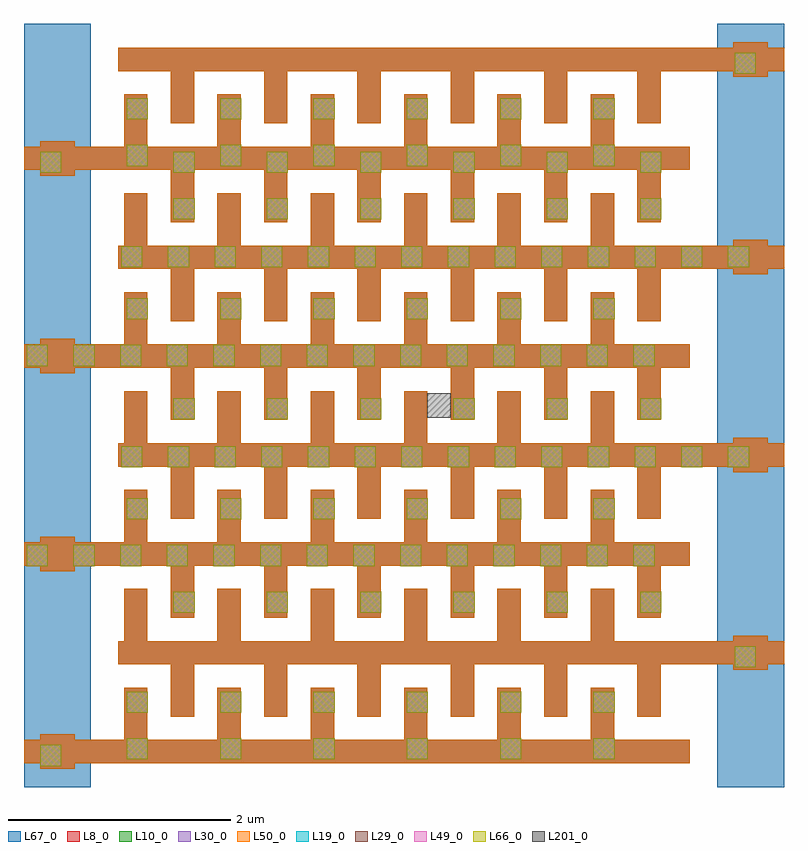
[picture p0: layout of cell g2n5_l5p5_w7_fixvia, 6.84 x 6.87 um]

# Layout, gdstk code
import gdstk
lib = gdstk.Library(unit=1e-6, precision=1e-09)
def R(c, l, rs):  # rectangles x0, y0, x1, y1
    for r in rs: c.add(gdstk.rectangle(r[:2], r[2:], *l))
def A(c, l, x, y, w, h, nx, ny, dx, dy):  # array of equal rectangles
    R(c, l, [(x+i*dx, y+j*dy, x+i*dx+w, y+j*dy+h) for i in range(nx) for j in range(ny)])
def P(c, l, *ps):  # polygons
    for p in ps: c.add(gdstk.Polygon(p, *l))
L8_0 = (8, 0)
L10_0 = (10, 0)
L19_0 = (19, 0)
L29_0 = (29, 0)
L30_0 = (30, 0)
L49_0 = (49, 0)
L50_0 = (50, 0)
L66_0 = (66, 0)
L67_0 = (67, 0)
L201_0 = (201, 0)

g2n5_l5p5_w7_fixvia = lib.new_cell('g2n5_l5p5_w7_fixvia')
P(g2n5_l5p5_w7_fixvia, L8_0, [(-0.755,-0.155),(-0.755,-0.105),(-0.9,-0.105),(-0.9,0.105),(-0.755,0.105),(-0.755,0.155),(-0.445,0.155),(-0.445,0.105),(0,0.105),(0,0.575),(0.21,0.575),(0.21,0.105),(0.84,0.105),(0.84,0.575),(1.05,0.575),(1.05,0.105),(1.68,0.105),(1.68,0.575),(1.89,0.575),(1.89,0.105),(2.52,0.105),(2.52,0.575),(2.73,0.575),(2.73,0.105),(3.36,0.105),(3.36,0.575),(3.57,0.575),(3.57,0.105),(4.2,0.105),(4.2,0.575),(4.41,0.575),(4.41,0.105),(5.09,0.105),(5.09,-0.105),(-0.445,-0.105),(-0.445,-0.155)],
  [(0.42,1.205),(0.42,1.675),(-0.445,1.675),(-0.445,1.625),(-0.755,1.625),(-0.755,1.675),(-0.9,1.675),(-0.9,1.885),(-0.755,1.885),(-0.755,1.935),(-0.445,1.935),(-0.445,1.885),(0,1.885),(0,2.355),(0.21,2.355),(0.21,1.885),(0.84,1.885),(0.84,2.355),(1.05,2.355),(1.05,1.885),(1.68,1.885),(1.68,2.355),(1.89,2.355),(1.89,1.885),(2.52,1.885),(2.52,2.355),(2.73,2.355),(2.73,1.885),(3.36,1.885),(3.36,2.355),(3.57,2.355),(3.57,1.885),(4.2,1.885),(4.2,2.355),(4.41,2.355),(4.41,1.885),(5.09,1.885),(5.09,1.675),(4.83,1.675),(4.83,1.205),(4.62,1.205),(4.62,1.675),(3.99,1.675),(3.99,1.205),(3.78,1.205),(3.78,1.675),(3.15,1.675),(3.15,1.205),(2.94,1.205),(2.94,1.675),(2.31,1.675),(2.31,1.205),(2.1,1.205),(2.1,1.675),(1.47,1.675),(1.47,1.205),(1.26,1.205),(1.26,1.675),(0.63,1.675),(0.63,1.205)],
  [(0.42,2.985),(0.42,3.455),(-0.445,3.455),(-0.445,3.405),(-0.755,3.405),(-0.755,3.455),(-0.9,3.455),(-0.9,3.665),(-0.755,3.665),(-0.755,3.715),(-0.445,3.715),(-0.445,3.665),(0,3.665),(0,4.135),(0.21,4.135),(0.21,3.665),(0.84,3.665),(0.84,4.135),(1.05,4.135),(1.05,3.665),(1.68,3.665),(1.68,4.135),(1.89,4.135),(1.89,3.665),(2.52,3.665),(2.52,4.135),(2.73,4.135),(2.73,3.665),(3.36,3.665),(3.36,4.135),(3.57,4.135),(3.57,3.665),(4.2,3.665),(4.2,4.135),(4.41,4.135),(4.41,3.665),(5.09,3.665),(5.09,3.455),(4.83,3.455),(4.83,2.985),(4.62,2.985),(4.62,3.455),(3.99,3.455),(3.99,2.985),(3.78,2.985),(3.78,3.455),(3.15,3.455),(3.15,2.985),(2.94,2.985),(2.94,3.455),(2.31,3.455),(2.31,2.985),(2.1,2.985),(2.1,3.455),(1.47,3.455),(1.47,2.985),(1.26,2.985),(1.26,3.455),(0.63,3.455),(0.63,2.985)],
  [(0.42,4.765),(0.42,5.235),(-0.445,5.235),(-0.445,5.185),(-0.755,5.185),(-0.755,5.235),(-0.9,5.235),(-0.9,5.445),(-0.755,5.445),(-0.755,5.495),(-0.445,5.495),(-0.445,5.445),(0,5.445),(0,5.915),(0.21,5.915),(0.21,5.445),(0.84,5.445),(0.84,5.915),(1.05,5.915),(1.05,5.445),(1.68,5.445),(1.68,5.915),(1.89,5.915),(1.89,5.445),(2.52,5.445),(2.52,5.915),(2.73,5.915),(2.73,5.445),(3.36,5.445),(3.36,5.915),(3.57,5.915),(3.57,5.445),(4.2,5.445),(4.2,5.915),(4.41,5.915),(4.41,5.445),(5.09,5.445),(5.09,5.235),(4.83,5.235),(4.83,4.765),(4.62,4.765),(4.62,5.235),(3.99,5.235),(3.99,4.765),(3.78,4.765),(3.78,5.235),(3.15,5.235),(3.15,4.765),(2.94,4.765),(2.94,5.235),(2.31,5.235),(2.31,4.765),(2.1,4.765),(2.1,5.235),(1.47,5.235),(1.47,4.765),(1.26,4.765),(1.26,5.235),(0.63,5.235),(0.63,4.765)],
  [(0.42,0.315),(0.42,0.785),(-0.05,0.785),(-0.05,0.995),(0,0.995),(0,1.465),(0.21,1.465),(0.21,0.995),(0.84,0.995),(0.84,1.465),(1.05,1.465),(1.05,0.995),(1.68,0.995),(1.68,1.465),(1.89,1.465),(1.89,0.995),(2.52,0.995),(2.52,1.465),(2.73,1.465),(2.73,0.995),(3.36,0.995),(3.36,1.465),(3.57,1.465),(3.57,0.995),(4.2,0.995),(4.2,1.465),(4.41,1.465),(4.41,0.995),(5.485,0.995),(5.485,1.045),(5.795,1.045),(5.795,0.995),(5.94,0.995),(5.94,0.785),(5.795,0.785),(5.795,0.735),(5.485,0.735),(5.485,0.785),(4.83,0.785),(4.83,0.315),(4.62,0.315),(4.62,0.785),(3.99,0.785),(3.99,0.315),(3.78,0.315),(3.78,0.785),(3.15,0.785),(3.15,0.315),(2.94,0.315),(2.94,0.785),(2.31,0.785),(2.31,0.315),(2.1,0.315),(2.1,0.785),(1.47,0.785),(1.47,0.315),(1.26,0.315),(1.26,0.785),(0.63,0.785),(0.63,0.315)],
  [(0.42,2.095),(0.42,2.565),(-0.05,2.565),(-0.05,2.775),(0,2.775),(0,3.245),(0.21,3.245),(0.21,2.775),(0.84,2.775),(0.84,3.245),(1.05,3.245),(1.05,2.775),(1.68,2.775),(1.68,3.245),(1.89,3.245),(1.89,2.775),(2.52,2.775),(2.52,3.245),(2.73,3.245),(2.73,2.775),(3.36,2.775),(3.36,3.245),(3.57,3.245),(3.57,2.775),(4.2,2.775),(4.2,3.245),(4.41,3.245),(4.41,2.775),(5.485,2.775),(5.485,2.825),(5.795,2.825),(5.795,2.775),(5.94,2.775),(5.94,2.565),(5.795,2.565),(5.795,2.515),(5.485,2.515),(5.485,2.565),(4.83,2.565),(4.83,2.095),(4.62,2.095),(4.62,2.565),(3.99,2.565),(3.99,2.095),(3.78,2.095),(3.78,2.565),(3.15,2.565),(3.15,2.095),(2.94,2.095),(2.94,2.565),(2.31,2.565),(2.31,2.095),(2.1,2.095),(2.1,2.565),(1.47,2.565),(1.47,2.095),(1.26,2.095),(1.26,2.565),(0.63,2.565),(0.63,2.095)],
  [(0.42,3.875),(0.42,4.345),(-0.05,4.345),(-0.05,4.555),(0,4.555),(0,5.025),(0.21,5.025),(0.21,4.555),(0.84,4.555),(0.84,5.025),(1.05,5.025),(1.05,4.555),(1.68,4.555),(1.68,5.025),(1.89,5.025),(1.89,4.555),(2.52,4.555),(2.52,5.025),(2.73,5.025),(2.73,4.555),(3.36,4.555),(3.36,5.025),(3.57,5.025),(3.57,4.555),(4.2,4.555),(4.2,5.025),(4.41,5.025),(4.41,4.555),(5.485,4.555),(5.485,4.605),(5.795,4.605),(5.795,4.555),(5.94,4.555),(5.94,4.345),(5.795,4.345),(5.795,4.295),(5.485,4.295),(5.485,4.345),(4.83,4.345),(4.83,3.875),(4.62,3.875),(4.62,4.345),(3.99,4.345),(3.99,3.875),(3.78,3.875),(3.78,4.345),(3.15,4.345),(3.15,3.875),(2.94,3.875),(2.94,4.345),(2.31,4.345),(2.31,3.875),(2.1,3.875),(2.1,4.345),(1.47,4.345),(1.47,3.875),(1.26,3.875),(1.26,4.345),(0.63,4.345),(0.63,3.875)],
  [(0.42,5.655),(0.42,6.125),(-0.05,6.125),(-0.05,6.335),(5.485,6.335),(5.485,6.385),(5.795,6.385),(5.795,6.335),(5.94,6.335),(5.94,6.125),(5.795,6.125),(5.795,6.075),(5.485,6.075),(5.485,6.125),(4.83,6.125),(4.83,5.655),(4.62,5.655),(4.62,6.125),(3.99,6.125),(3.99,5.655),(3.78,5.655),(3.78,6.125),(3.15,6.125),(3.15,5.655),(2.94,5.655),(2.94,6.125),(2.31,6.125),(2.31,5.655),(2.1,5.655),(2.1,6.125),(1.47,6.125),(1.47,5.655),(1.26,5.655),(1.26,6.125),(0.63,6.125),(0.63,5.655)])
P(g2n5_l5p5_w7_fixvia, L10_0, [(-0.755,-0.155),(-0.755,-0.105),(-0.9,-0.105),(-0.9,0.105),(-0.755,0.105),(-0.755,0.155),(-0.445,0.155),(-0.445,0.105),(0,0.105),(0,0.575),(0.21,0.575),(0.21,0.105),(0.84,0.105),(0.84,0.575),(1.05,0.575),(1.05,0.105),(1.68,0.105),(1.68,0.575),(1.89,0.575),(1.89,0.105),(2.52,0.105),(2.52,0.575),(2.73,0.575),(2.73,0.105),(3.36,0.105),(3.36,0.575),(3.57,0.575),(3.57,0.105),(4.2,0.105),(4.2,0.575),(4.41,0.575),(4.41,0.105),(5.09,0.105),(5.09,-0.105),(-0.445,-0.105),(-0.445,-0.155)],
  [(0.42,1.205),(0.42,1.675),(-0.445,1.675),(-0.445,1.625),(-0.755,1.625),(-0.755,1.675),(-0.9,1.675),(-0.9,1.885),(-0.755,1.885),(-0.755,1.935),(-0.445,1.935),(-0.445,1.885),(0,1.885),(0,2.355),(0.21,2.355),(0.21,1.885),(0.84,1.885),(0.84,2.355),(1.05,2.355),(1.05,1.885),(1.68,1.885),(1.68,2.355),(1.89,2.355),(1.89,1.885),(2.52,1.885),(2.52,2.355),(2.73,2.355),(2.73,1.885),(3.36,1.885),(3.36,2.355),(3.57,2.355),(3.57,1.885),(4.2,1.885),(4.2,2.355),(4.41,2.355),(4.41,1.885),(5.09,1.885),(5.09,1.675),(4.83,1.675),(4.83,1.205),(4.62,1.205),(4.62,1.675),(3.99,1.675),(3.99,1.205),(3.78,1.205),(3.78,1.675),(3.15,1.675),(3.15,1.205),(2.94,1.205),(2.94,1.675),(2.31,1.675),(2.31,1.205),(2.1,1.205),(2.1,1.675),(1.47,1.675),(1.47,1.205),(1.26,1.205),(1.26,1.675),(0.63,1.675),(0.63,1.205)],
  [(0.42,2.985),(0.42,3.455),(-0.445,3.455),(-0.445,3.405),(-0.755,3.405),(-0.755,3.455),(-0.9,3.455),(-0.9,3.665),(-0.755,3.665),(-0.755,3.715),(-0.445,3.715),(-0.445,3.665),(0,3.665),(0,4.135),(0.21,4.135),(0.21,3.665),(0.84,3.665),(0.84,4.135),(1.05,4.135),(1.05,3.665),(1.68,3.665),(1.68,4.135),(1.89,4.135),(1.89,3.665),(2.52,3.665),(2.52,4.135),(2.73,4.135),(2.73,3.665),(3.36,3.665),(3.36,4.135),(3.57,4.135),(3.57,3.665),(4.2,3.665),(4.2,4.135),(4.41,4.135),(4.41,3.665),(5.09,3.665),(5.09,3.455),(4.83,3.455),(4.83,2.985),(4.62,2.985),(4.62,3.455),(3.99,3.455),(3.99,2.985),(3.78,2.985),(3.78,3.455),(3.15,3.455),(3.15,2.985),(2.94,2.985),(2.94,3.455),(2.31,3.455),(2.31,2.985),(2.1,2.985),(2.1,3.455),(1.47,3.455),(1.47,2.985),(1.26,2.985),(1.26,3.455),(0.63,3.455),(0.63,2.985)],
  [(0.42,4.765),(0.42,5.235),(-0.445,5.235),(-0.445,5.185),(-0.755,5.185),(-0.755,5.235),(-0.9,5.235),(-0.9,5.445),(-0.755,5.445),(-0.755,5.495),(-0.445,5.495),(-0.445,5.445),(0,5.445),(0,5.915),(0.21,5.915),(0.21,5.445),(0.84,5.445),(0.84,5.915),(1.05,5.915),(1.05,5.445),(1.68,5.445),(1.68,5.915),(1.89,5.915),(1.89,5.445),(2.52,5.445),(2.52,5.915),(2.73,5.915),(2.73,5.445),(3.36,5.445),(3.36,5.915),(3.57,5.915),(3.57,5.445),(4.2,5.445),(4.2,5.915),(4.41,5.915),(4.41,5.445),(5.09,5.445),(5.09,5.235),(4.83,5.235),(4.83,4.765),(4.62,4.765),(4.62,5.235),(3.99,5.235),(3.99,4.765),(3.78,4.765),(3.78,5.235),(3.15,5.235),(3.15,4.765),(2.94,4.765),(2.94,5.235),(2.31,5.235),(2.31,4.765),(2.1,4.765),(2.1,5.235),(1.47,5.235),(1.47,4.765),(1.26,4.765),(1.26,5.235),(0.63,5.235),(0.63,4.765)],
  [(0.42,0.315),(0.42,0.785),(-0.05,0.785),(-0.05,0.995),(0,0.995),(0,1.465),(0.21,1.465),(0.21,0.995),(0.84,0.995),(0.84,1.465),(1.05,1.465),(1.05,0.995),(1.68,0.995),(1.68,1.465),(1.89,1.465),(1.89,0.995),(2.52,0.995),(2.52,1.465),(2.73,1.465),(2.73,0.995),(3.36,0.995),(3.36,1.465),(3.57,1.465),(3.57,0.995),(4.2,0.995),(4.2,1.465),(4.41,1.465),(4.41,0.995),(5.485,0.995),(5.485,1.045),(5.795,1.045),(5.795,0.995),(5.94,0.995),(5.94,0.785),(5.795,0.785),(5.795,0.735),(5.485,0.735),(5.485,0.785),(4.83,0.785),(4.83,0.315),(4.62,0.315),(4.62,0.785),(3.99,0.785),(3.99,0.315),(3.78,0.315),(3.78,0.785),(3.15,0.785),(3.15,0.315),(2.94,0.315),(2.94,0.785),(2.31,0.785),(2.31,0.315),(2.1,0.315),(2.1,0.785),(1.47,0.785),(1.47,0.315),(1.26,0.315),(1.26,0.785),(0.63,0.785),(0.63,0.315)],
  [(0.42,2.095),(0.42,2.565),(-0.05,2.565),(-0.05,2.775),(0,2.775),(0,3.245),(0.21,3.245),(0.21,2.775),(0.84,2.775),(0.84,3.245),(1.05,3.245),(1.05,2.775),(1.68,2.775),(1.68,3.245),(1.89,3.245),(1.89,2.775),(2.52,2.775),(2.52,3.245),(2.73,3.245),(2.73,2.775),(3.36,2.775),(3.36,3.245),(3.57,3.245),(3.57,2.775),(4.2,2.775),(4.2,3.245),(4.41,3.245),(4.41,2.775),(5.485,2.775),(5.485,2.825),(5.795,2.825),(5.795,2.775),(5.94,2.775),(5.94,2.565),(5.795,2.565),(5.795,2.515),(5.485,2.515),(5.485,2.565),(4.83,2.565),(4.83,2.095),(4.62,2.095),(4.62,2.565),(3.99,2.565),(3.99,2.095),(3.78,2.095),(3.78,2.565),(3.15,2.565),(3.15,2.095),(2.94,2.095),(2.94,2.565),(2.31,2.565),(2.31,2.095),(2.1,2.095),(2.1,2.565),(1.47,2.565),(1.47,2.095),(1.26,2.095),(1.26,2.565),(0.63,2.565),(0.63,2.095)],
  [(0.42,3.875),(0.42,4.345),(-0.05,4.345),(-0.05,4.555),(0,4.555),(0,5.025),(0.21,5.025),(0.21,4.555),(0.84,4.555),(0.84,5.025),(1.05,5.025),(1.05,4.555),(1.68,4.555),(1.68,5.025),(1.89,5.025),(1.89,4.555),(2.52,4.555),(2.52,5.025),(2.73,5.025),(2.73,4.555),(3.36,4.555),(3.36,5.025),(3.57,5.025),(3.57,4.555),(4.2,4.555),(4.2,5.025),(4.41,5.025),(4.41,4.555),(5.485,4.555),(5.485,4.605),(5.795,4.605),(5.795,4.555),(5.94,4.555),(5.94,4.345),(5.795,4.345),(5.795,4.295),(5.485,4.295),(5.485,4.345),(4.83,4.345),(4.83,3.875),(4.62,3.875),(4.62,4.345),(3.99,4.345),(3.99,3.875),(3.78,3.875),(3.78,4.345),(3.15,4.345),(3.15,3.875),(2.94,3.875),(2.94,4.345),(2.31,4.345),(2.31,3.875),(2.1,3.875),(2.1,4.345),(1.47,4.345),(1.47,3.875),(1.26,3.875),(1.26,4.345),(0.63,4.345),(0.63,3.875)],
  [(0.42,5.655),(0.42,6.125),(-0.05,6.125),(-0.05,6.335),(5.485,6.335),(5.485,6.385),(5.795,6.385),(5.795,6.335),(5.94,6.335),(5.94,6.125),(5.795,6.125),(5.795,6.075),(5.485,6.075),(5.485,6.125),(4.83,6.125),(4.83,5.655),(4.62,5.655),(4.62,6.125),(3.99,6.125),(3.99,5.655),(3.78,5.655),(3.78,6.125),(3.15,6.125),(3.15,5.655),(2.94,5.655),(2.94,6.125),(2.31,6.125),(2.31,5.655),(2.1,5.655),(2.1,6.125),(1.47,6.125),(1.47,5.655),(1.26,5.655),(1.26,6.125),(0.63,6.125),(0.63,5.655)])
A(g2n5_l5p5_w7_fixvia, L19_0, 0.025, -0.07, 0.19, 0.19, 6, 2, 0.84, 0.42)
A(g2n5_l5p5_w7_fixvia, L19_0, 0.445, 1.25, 0.19, 0.19, 6, 2, 0.84, 1.74)
A(g2n5_l5p5_w7_fixvia, L19_0, -0.875, 1.67, 0.19, 0.19, 14, 2, 0.42, 1.8)
A(g2n5_l5p5_w7_fixvia, L19_0, 0.025, 2.09, 0.19, 0.19, 6, 2, 0.84, 1.8)
A(g2n5_l5p5_w7_fixvia, L19_0, -0.025, 2.56, 0.19, 0.19, 14, 2, 0.42, 1.8)
A(g2n5_l5p5_w7_fixvia, L19_0, 0.445, 4.79, 0.19, 0.19, 6, 2, 0.84, 0.42)
A(g2n5_l5p5_w7_fixvia, L19_0, 0.025, 5.27, 0.19, 0.19, 6, 2, 0.84, 0.42)
R(g2n5_l5p5_w7_fixvia, L19_0, [(-0.755,-0.13,-0.565,0.06), (5.495,0.76,5.685,0.95), (-0.755,5.21,-0.565,5.4), (5.495,6.1,5.685,6.29)])
A(g2n5_l5p5_w7_fixvia, L29_0, 0.025, -0.07, 0.19, 0.19, 6, 2, 0.84, 0.42)
A(g2n5_l5p5_w7_fixvia, L29_0, 0.445, 1.25, 0.19, 0.19, 6, 2, 0.84, 1.74)
A(g2n5_l5p5_w7_fixvia, L29_0, -0.875, 1.67, 0.19, 0.19, 14, 2, 0.42, 1.8)
A(g2n5_l5p5_w7_fixvia, L29_0, 0.025, 2.09, 0.19, 0.19, 6, 2, 0.84, 1.8)
A(g2n5_l5p5_w7_fixvia, L29_0, -0.025, 2.56, 0.19, 0.19, 14, 2, 0.42, 1.8)
A(g2n5_l5p5_w7_fixvia, L29_0, 0.445, 4.79, 0.19, 0.19, 6, 2, 0.84, 0.42)
A(g2n5_l5p5_w7_fixvia, L29_0, 0.025, 5.27, 0.19, 0.19, 6, 2, 0.84, 0.42)
R(g2n5_l5p5_w7_fixvia, L29_0, [(-0.755,-0.13,-0.565,0.06), (5.495,0.76,5.685,0.95), (-0.755,5.21,-0.565,5.4), (5.495,6.1,5.685,6.29)])
P(g2n5_l5p5_w7_fixvia, L30_0, [(-0.755,-0.155),(-0.755,-0.105),(-0.9,-0.105),(-0.9,0.105),(-0.755,0.105),(-0.755,0.155),(-0.445,0.155),(-0.445,0.105),(0,0.105),(0,0.575),(0.21,0.575),(0.21,0.105),(0.84,0.105),(0.84,0.575),(1.05,0.575),(1.05,0.105),(1.68,0.105),(1.68,0.575),(1.89,0.575),(1.89,0.105),(2.52,0.105),(2.52,0.575),(2.73,0.575),(2.73,0.105),(3.36,0.105),(3.36,0.575),(3.57,0.575),(3.57,0.105),(4.2,0.105),(4.2,0.575),(4.41,0.575),(4.41,0.105),(5.09,0.105),(5.09,-0.105),(-0.445,-0.105),(-0.445,-0.155)],
  [(0.42,1.205),(0.42,1.675),(-0.445,1.675),(-0.445,1.625),(-0.755,1.625),(-0.755,1.675),(-0.9,1.675),(-0.9,1.885),(-0.755,1.885),(-0.755,1.935),(-0.445,1.935),(-0.445,1.885),(0,1.885),(0,2.355),(0.21,2.355),(0.21,1.885),(0.84,1.885),(0.84,2.355),(1.05,2.355),(1.05,1.885),(1.68,1.885),(1.68,2.355),(1.89,2.355),(1.89,1.885),(2.52,1.885),(2.52,2.355),(2.73,2.355),(2.73,1.885),(3.36,1.885),(3.36,2.355),(3.57,2.355),(3.57,1.885),(4.2,1.885),(4.2,2.355),(4.41,2.355),(4.41,1.885),(5.09,1.885),(5.09,1.675),(4.83,1.675),(4.83,1.205),(4.62,1.205),(4.62,1.675),(3.99,1.675),(3.99,1.205),(3.78,1.205),(3.78,1.675),(3.15,1.675),(3.15,1.205),(2.94,1.205),(2.94,1.675),(2.31,1.675),(2.31,1.205),(2.1,1.205),(2.1,1.675),(1.47,1.675),(1.47,1.205),(1.26,1.205),(1.26,1.675),(0.63,1.675),(0.63,1.205)],
  [(0.42,2.985),(0.42,3.455),(-0.445,3.455),(-0.445,3.405),(-0.755,3.405),(-0.755,3.455),(-0.9,3.455),(-0.9,3.665),(-0.755,3.665),(-0.755,3.715),(-0.445,3.715),(-0.445,3.665),(0,3.665),(0,4.135),(0.21,4.135),(0.21,3.665),(0.84,3.665),(0.84,4.135),(1.05,4.135),(1.05,3.665),(1.68,3.665),(1.68,4.135),(1.89,4.135),(1.89,3.665),(2.52,3.665),(2.52,4.135),(2.73,4.135),(2.73,3.665),(3.36,3.665),(3.36,4.135),(3.57,4.135),(3.57,3.665),(4.2,3.665),(4.2,4.135),(4.41,4.135),(4.41,3.665),(5.09,3.665),(5.09,3.455),(4.83,3.455),(4.83,2.985),(4.62,2.985),(4.62,3.455),(3.99,3.455),(3.99,2.985),(3.78,2.985),(3.78,3.455),(3.15,3.455),(3.15,2.985),(2.94,2.985),(2.94,3.455),(2.31,3.455),(2.31,2.985),(2.1,2.985),(2.1,3.455),(1.47,3.455),(1.47,2.985),(1.26,2.985),(1.26,3.455),(0.63,3.455),(0.63,2.985)],
  [(0.42,4.765),(0.42,5.235),(-0.445,5.235),(-0.445,5.185),(-0.755,5.185),(-0.755,5.235),(-0.9,5.235),(-0.9,5.445),(-0.755,5.445),(-0.755,5.495),(-0.445,5.495),(-0.445,5.445),(0,5.445),(0,5.915),(0.21,5.915),(0.21,5.445),(0.84,5.445),(0.84,5.915),(1.05,5.915),(1.05,5.445),(1.68,5.445),(1.68,5.915),(1.89,5.915),(1.89,5.445),(2.52,5.445),(2.52,5.915),(2.73,5.915),(2.73,5.445),(3.36,5.445),(3.36,5.915),(3.57,5.915),(3.57,5.445),(4.2,5.445),(4.2,5.915),(4.41,5.915),(4.41,5.445),(5.09,5.445),(5.09,5.235),(4.83,5.235),(4.83,4.765),(4.62,4.765),(4.62,5.235),(3.99,5.235),(3.99,4.765),(3.78,4.765),(3.78,5.235),(3.15,5.235),(3.15,4.765),(2.94,4.765),(2.94,5.235),(2.31,5.235),(2.31,4.765),(2.1,4.765),(2.1,5.235),(1.47,5.235),(1.47,4.765),(1.26,4.765),(1.26,5.235),(0.63,5.235),(0.63,4.765)],
  [(0.42,0.315),(0.42,0.785),(-0.05,0.785),(-0.05,0.995),(0,0.995),(0,1.465),(0.21,1.465),(0.21,0.995),(0.84,0.995),(0.84,1.465),(1.05,1.465),(1.05,0.995),(1.68,0.995),(1.68,1.465),(1.89,1.465),(1.89,0.995),(2.52,0.995),(2.52,1.465),(2.73,1.465),(2.73,0.995),(3.36,0.995),(3.36,1.465),(3.57,1.465),(3.57,0.995),(4.2,0.995),(4.2,1.465),(4.41,1.465),(4.41,0.995),(5.485,0.995),(5.485,1.045),(5.795,1.045),(5.795,0.995),(5.94,0.995),(5.94,0.785),(5.795,0.785),(5.795,0.735),(5.485,0.735),(5.485,0.785),(4.83,0.785),(4.83,0.315),(4.62,0.315),(4.62,0.785),(3.99,0.785),(3.99,0.315),(3.78,0.315),(3.78,0.785),(3.15,0.785),(3.15,0.315),(2.94,0.315),(2.94,0.785),(2.31,0.785),(2.31,0.315),(2.1,0.315),(2.1,0.785),(1.47,0.785),(1.47,0.315),(1.26,0.315),(1.26,0.785),(0.63,0.785),(0.63,0.315)],
  [(0.42,2.095),(0.42,2.565),(-0.05,2.565),(-0.05,2.775),(0,2.775),(0,3.245),(0.21,3.245),(0.21,2.775),(0.84,2.775),(0.84,3.245),(1.05,3.245),(1.05,2.775),(1.68,2.775),(1.68,3.245),(1.89,3.245),(1.89,2.775),(2.52,2.775),(2.52,3.245),(2.73,3.245),(2.73,2.775),(3.36,2.775),(3.36,3.245),(3.57,3.245),(3.57,2.775),(4.2,2.775),(4.2,3.245),(4.41,3.245),(4.41,2.775),(5.485,2.775),(5.485,2.825),(5.795,2.825),(5.795,2.775),(5.94,2.775),(5.94,2.565),(5.795,2.565),(5.795,2.515),(5.485,2.515),(5.485,2.565),(4.83,2.565),(4.83,2.095),(4.62,2.095),(4.62,2.565),(3.99,2.565),(3.99,2.095),(3.78,2.095),(3.78,2.565),(3.15,2.565),(3.15,2.095),(2.94,2.095),(2.94,2.565),(2.31,2.565),(2.31,2.095),(2.1,2.095),(2.1,2.565),(1.47,2.565),(1.47,2.095),(1.26,2.095),(1.26,2.565),(0.63,2.565),(0.63,2.095)],
  [(0.42,3.875),(0.42,4.345),(-0.05,4.345),(-0.05,4.555),(0,4.555),(0,5.025),(0.21,5.025),(0.21,4.555),(0.84,4.555),(0.84,5.025),(1.05,5.025),(1.05,4.555),(1.68,4.555),(1.68,5.025),(1.89,5.025),(1.89,4.555),(2.52,4.555),(2.52,5.025),(2.73,5.025),(2.73,4.555),(3.36,4.555),(3.36,5.025),(3.57,5.025),(3.57,4.555),(4.2,4.555),(4.2,5.025),(4.41,5.025),(4.41,4.555),(5.485,4.555),(5.485,4.605),(5.795,4.605),(5.795,4.555),(5.94,4.555),(5.94,4.345),(5.795,4.345),(5.795,4.295),(5.485,4.295),(5.485,4.345),(4.83,4.345),(4.83,3.875),(4.62,3.875),(4.62,4.345),(3.99,4.345),(3.99,3.875),(3.78,3.875),(3.78,4.345),(3.15,4.345),(3.15,3.875),(2.94,3.875),(2.94,4.345),(2.31,4.345),(2.31,3.875),(2.1,3.875),(2.1,4.345),(1.47,4.345),(1.47,3.875),(1.26,3.875),(1.26,4.345),(0.63,4.345),(0.63,3.875)],
  [(0.42,5.655),(0.42,6.125),(-0.05,6.125),(-0.05,6.335),(5.485,6.335),(5.485,6.385),(5.795,6.385),(5.795,6.335),(5.94,6.335),(5.94,6.125),(5.795,6.125),(5.795,6.075),(5.485,6.075),(5.485,6.125),(4.83,6.125),(4.83,5.655),(4.62,5.655),(4.62,6.125),(3.99,6.125),(3.99,5.655),(3.78,5.655),(3.78,6.125),(3.15,6.125),(3.15,5.655),(2.94,5.655),(2.94,6.125),(2.31,6.125),(2.31,5.655),(2.1,5.655),(2.1,6.125),(1.47,6.125),(1.47,5.655),(1.26,5.655),(1.26,6.125),(0.63,6.125),(0.63,5.655)])
A(g2n5_l5p5_w7_fixvia, L49_0, 0.025, -0.07, 0.19, 0.19, 6, 2, 0.84, 0.42)
A(g2n5_l5p5_w7_fixvia, L49_0, 0.445, 1.25, 0.19, 0.19, 6, 2, 0.84, 1.74)
A(g2n5_l5p5_w7_fixvia, L49_0, -0.875, 1.67, 0.19, 0.19, 14, 2, 0.42, 1.8)
A(g2n5_l5p5_w7_fixvia, L49_0, 0.025, 2.09, 0.19, 0.19, 6, 2, 0.84, 1.8)
A(g2n5_l5p5_w7_fixvia, L49_0, -0.025, 2.56, 0.19, 0.19, 14, 2, 0.42, 1.8)
A(g2n5_l5p5_w7_fixvia, L49_0, 0.445, 4.79, 0.19, 0.19, 6, 2, 0.84, 0.42)
A(g2n5_l5p5_w7_fixvia, L49_0, 0.025, 5.27, 0.19, 0.19, 6, 2, 0.84, 0.42)
R(g2n5_l5p5_w7_fixvia, L49_0, [(-0.755,-0.13,-0.565,0.06), (5.495,0.76,5.685,0.95), (-0.755,5.21,-0.565,5.4), (5.495,6.1,5.685,6.29)])
P(g2n5_l5p5_w7_fixvia, L50_0, [(-0.755,-0.155),(-0.755,-0.105),(-0.9,-0.105),(-0.9,0.105),(-0.755,0.105),(-0.755,0.155),(-0.445,0.155),(-0.445,0.105),(0,0.105),(0,0.575),(0.21,0.575),(0.21,0.105),(0.84,0.105),(0.84,0.575),(1.05,0.575),(1.05,0.105),(1.68,0.105),(1.68,0.575),(1.89,0.575),(1.89,0.105),(2.52,0.105),(2.52,0.575),(2.73,0.575),(2.73,0.105),(3.36,0.105),(3.36,0.575),(3.57,0.575),(3.57,0.105),(4.2,0.105),(4.2,0.575),(4.41,0.575),(4.41,0.105),(5.09,0.105),(5.09,-0.105),(-0.445,-0.105),(-0.445,-0.155)],
  [(0.42,1.205),(0.42,1.675),(-0.445,1.675),(-0.445,1.625),(-0.755,1.625),(-0.755,1.675),(-0.9,1.675),(-0.9,1.885),(-0.755,1.885),(-0.755,1.935),(-0.445,1.935),(-0.445,1.885),(0,1.885),(0,2.355),(0.21,2.355),(0.21,1.885),(0.84,1.885),(0.84,2.355),(1.05,2.355),(1.05,1.885),(1.68,1.885),(1.68,2.355),(1.89,2.355),(1.89,1.885),(2.52,1.885),(2.52,2.355),(2.73,2.355),(2.73,1.885),(3.36,1.885),(3.36,2.355),(3.57,2.355),(3.57,1.885),(4.2,1.885),(4.2,2.355),(4.41,2.355),(4.41,1.885),(5.09,1.885),(5.09,1.675),(4.83,1.675),(4.83,1.205),(4.62,1.205),(4.62,1.675),(3.99,1.675),(3.99,1.205),(3.78,1.205),(3.78,1.675),(3.15,1.675),(3.15,1.205),(2.94,1.205),(2.94,1.675),(2.31,1.675),(2.31,1.205),(2.1,1.205),(2.1,1.675),(1.47,1.675),(1.47,1.205),(1.26,1.205),(1.26,1.675),(0.63,1.675),(0.63,1.205)],
  [(0.42,2.985),(0.42,3.455),(-0.445,3.455),(-0.445,3.405),(-0.755,3.405),(-0.755,3.455),(-0.9,3.455),(-0.9,3.665),(-0.755,3.665),(-0.755,3.715),(-0.445,3.715),(-0.445,3.665),(0,3.665),(0,4.135),(0.21,4.135),(0.21,3.665),(0.84,3.665),(0.84,4.135),(1.05,4.135),(1.05,3.665),(1.68,3.665),(1.68,4.135),(1.89,4.135),(1.89,3.665),(2.52,3.665),(2.52,4.135),(2.73,4.135),(2.73,3.665),(3.36,3.665),(3.36,4.135),(3.57,4.135),(3.57,3.665),(4.2,3.665),(4.2,4.135),(4.41,4.135),(4.41,3.665),(5.09,3.665),(5.09,3.455),(4.83,3.455),(4.83,2.985),(4.62,2.985),(4.62,3.455),(3.99,3.455),(3.99,2.985),(3.78,2.985),(3.78,3.455),(3.15,3.455),(3.15,2.985),(2.94,2.985),(2.94,3.455),(2.31,3.455),(2.31,2.985),(2.1,2.985),(2.1,3.455),(1.47,3.455),(1.47,2.985),(1.26,2.985),(1.26,3.455),(0.63,3.455),(0.63,2.985)],
  [(0.42,4.765),(0.42,5.235),(-0.445,5.235),(-0.445,5.185),(-0.755,5.185),(-0.755,5.235),(-0.9,5.235),(-0.9,5.445),(-0.755,5.445),(-0.755,5.495),(-0.445,5.495),(-0.445,5.445),(0,5.445),(0,5.915),(0.21,5.915),(0.21,5.445),(0.84,5.445),(0.84,5.915),(1.05,5.915),(1.05,5.445),(1.68,5.445),(1.68,5.915),(1.89,5.915),(1.89,5.445),(2.52,5.445),(2.52,5.915),(2.73,5.915),(2.73,5.445),(3.36,5.445),(3.36,5.915),(3.57,5.915),(3.57,5.445),(4.2,5.445),(4.2,5.915),(4.41,5.915),(4.41,5.445),(5.09,5.445),(5.09,5.235),(4.83,5.235),(4.83,4.765),(4.62,4.765),(4.62,5.235),(3.99,5.235),(3.99,4.765),(3.78,4.765),(3.78,5.235),(3.15,5.235),(3.15,4.765),(2.94,4.765),(2.94,5.235),(2.31,5.235),(2.31,4.765),(2.1,4.765),(2.1,5.235),(1.47,5.235),(1.47,4.765),(1.26,4.765),(1.26,5.235),(0.63,5.235),(0.63,4.765)],
  [(0.42,0.315),(0.42,0.785),(-0.05,0.785),(-0.05,0.995),(0,0.995),(0,1.465),(0.21,1.465),(0.21,0.995),(0.84,0.995),(0.84,1.465),(1.05,1.465),(1.05,0.995),(1.68,0.995),(1.68,1.465),(1.89,1.465),(1.89,0.995),(2.52,0.995),(2.52,1.465),(2.73,1.465),(2.73,0.995),(3.36,0.995),(3.36,1.465),(3.57,1.465),(3.57,0.995),(4.2,0.995),(4.2,1.465),(4.41,1.465),(4.41,0.995),(5.485,0.995),(5.485,1.045),(5.795,1.045),(5.795,0.995),(5.94,0.995),(5.94,0.785),(5.795,0.785),(5.795,0.735),(5.485,0.735),(5.485,0.785),(4.83,0.785),(4.83,0.315),(4.62,0.315),(4.62,0.785),(3.99,0.785),(3.99,0.315),(3.78,0.315),(3.78,0.785),(3.15,0.785),(3.15,0.315),(2.94,0.315),(2.94,0.785),(2.31,0.785),(2.31,0.315),(2.1,0.315),(2.1,0.785),(1.47,0.785),(1.47,0.315),(1.26,0.315),(1.26,0.785),(0.63,0.785),(0.63,0.315)],
  [(0.42,2.095),(0.42,2.565),(-0.05,2.565),(-0.05,2.775),(0,2.775),(0,3.245),(0.21,3.245),(0.21,2.775),(0.84,2.775),(0.84,3.245),(1.05,3.245),(1.05,2.775),(1.68,2.775),(1.68,3.245),(1.89,3.245),(1.89,2.775),(2.52,2.775),(2.52,3.245),(2.73,3.245),(2.73,2.775),(3.36,2.775),(3.36,3.245),(3.57,3.245),(3.57,2.775),(4.2,2.775),(4.2,3.245),(4.41,3.245),(4.41,2.775),(5.485,2.775),(5.485,2.825),(5.795,2.825),(5.795,2.775),(5.94,2.775),(5.94,2.565),(5.795,2.565),(5.795,2.515),(5.485,2.515),(5.485,2.565),(4.83,2.565),(4.83,2.095),(4.62,2.095),(4.62,2.565),(3.99,2.565),(3.99,2.095),(3.78,2.095),(3.78,2.565),(3.15,2.565),(3.15,2.095),(2.94,2.095),(2.94,2.565),(2.31,2.565),(2.31,2.095),(2.1,2.095),(2.1,2.565),(1.47,2.565),(1.47,2.095),(1.26,2.095),(1.26,2.565),(0.63,2.565),(0.63,2.095)],
  [(0.42,3.875),(0.42,4.345),(-0.05,4.345),(-0.05,4.555),(0,4.555),(0,5.025),(0.21,5.025),(0.21,4.555),(0.84,4.555),(0.84,5.025),(1.05,5.025),(1.05,4.555),(1.68,4.555),(1.68,5.025),(1.89,5.025),(1.89,4.555),(2.52,4.555),(2.52,5.025),(2.73,5.025),(2.73,4.555),(3.36,4.555),(3.36,5.025),(3.57,5.025),(3.57,4.555),(4.2,4.555),(4.2,5.025),(4.41,5.025),(4.41,4.555),(5.485,4.555),(5.485,4.605),(5.795,4.605),(5.795,4.555),(5.94,4.555),(5.94,4.345),(5.795,4.345),(5.795,4.295),(5.485,4.295),(5.485,4.345),(4.83,4.345),(4.83,3.875),(4.62,3.875),(4.62,4.345),(3.99,4.345),(3.99,3.875),(3.78,3.875),(3.78,4.345),(3.15,4.345),(3.15,3.875),(2.94,3.875),(2.94,4.345),(2.31,4.345),(2.31,3.875),(2.1,3.875),(2.1,4.345),(1.47,4.345),(1.47,3.875),(1.26,3.875),(1.26,4.345),(0.63,4.345),(0.63,3.875)],
  [(0.42,5.655),(0.42,6.125),(-0.05,6.125),(-0.05,6.335),(5.485,6.335),(5.485,6.385),(5.795,6.385),(5.795,6.335),(5.94,6.335),(5.94,6.125),(5.795,6.125),(5.795,6.075),(5.485,6.075),(5.485,6.125),(4.83,6.125),(4.83,5.655),(4.62,5.655),(4.62,6.125),(3.99,6.125),(3.99,5.655),(3.78,5.655),(3.78,6.125),(3.15,6.125),(3.15,5.655),(2.94,5.655),(2.94,6.125),(2.31,6.125),(2.31,5.655),(2.1,5.655),(2.1,6.125),(1.47,6.125),(1.47,5.655),(1.26,5.655),(1.26,6.125),(0.63,6.125),(0.63,5.655)])
A(g2n5_l5p5_w7_fixvia, L66_0, 0.025, -0.07, 0.19, 0.19, 6, 2, 0.84, 0.42)
A(g2n5_l5p5_w7_fixvia, L66_0, 0.445, 1.25, 0.19, 0.19, 6, 2, 0.84, 1.74)
A(g2n5_l5p5_w7_fixvia, L66_0, -0.875, 1.67, 0.19, 0.19, 14, 2, 0.42, 1.8)
A(g2n5_l5p5_w7_fixvia, L66_0, 0.025, 2.09, 0.19, 0.19, 6, 2, 0.84, 1.8)
A(g2n5_l5p5_w7_fixvia, L66_0, -0.025, 2.56, 0.19, 0.19, 14, 2, 0.42, 1.8)
A(g2n5_l5p5_w7_fixvia, L66_0, 0.445, 4.79, 0.19, 0.19, 6, 2, 0.84, 0.42)
A(g2n5_l5p5_w7_fixvia, L66_0, 0.025, 5.27, 0.19, 0.19, 6, 2, 0.84, 0.42)
R(g2n5_l5p5_w7_fixvia, L66_0, [(-0.755,-0.13,-0.565,0.06), (5.495,0.76,5.685,0.95), (-0.755,5.21,-0.565,5.4), (5.495,6.1,5.685,6.29)])
P(g2n5_l5p5_w7_fixvia, L67_0, [(-0.9,-0.32),(-0.9,6.55),(-0.3,6.55),(-0.3,5.445),(0,5.445),(0,5.915),(0.21,5.915),(0.21,5.445),(0.84,5.445),(0.84,5.915),(1.05,5.915),(1.05,5.445),(1.68,5.445),(1.68,5.915),(1.89,5.915),(1.89,5.445),(2.52,5.445),(2.52,5.915),(2.73,5.915),(2.73,5.445),(3.36,5.445),(3.36,5.915),(3.57,5.915),(3.57,5.445),(4.2,5.445),(4.2,5.915),(4.41,5.915),(4.41,5.445),(5.09,5.445),(5.09,5.235),(4.83,5.235),(4.83,4.765),(4.62,4.765),(4.62,5.235),(3.99,5.235),(3.99,4.765),(3.78,4.765),(3.78,5.235),(3.15,5.235),(3.15,4.765),(2.94,4.765),(2.94,5.235),(2.31,5.235),(2.31,4.765),(2.1,4.765),(2.1,5.235),(1.47,5.235),(1.47,4.765),(1.26,4.765),(1.26,5.235),(0.63,5.235),(0.63,4.765),(0.42,4.765),(0.42,5.235),(-0.3,5.235),(-0.3,3.665),(0,3.665),(0,4.135),(0.21,4.135),(0.21,3.665),(0.84,3.665),(0.84,4.135),(1.05,4.135),(1.05,3.665),(1.68,3.665),(1.68,4.135),(1.89,4.135),(1.89,3.665),(2.52,3.665),(2.52,4.135),(2.73,4.135),(2.73,3.665),(3.36,3.665),(3.36,4.135),(3.57,4.135),(3.57,3.665),(4.2,3.665),(4.2,4.135),(4.41,4.135),(4.41,3.665),(5.09,3.665),(5.09,3.455),(4.83,3.455),(4.83,2.985),(4.62,2.985),(4.62,3.455),(3.99,3.455),(3.99,2.985),(3.78,2.985),(3.78,3.455),(3.15,3.455),(3.15,2.985),(2.94,2.985),(2.94,3.455),(2.31,3.455),(2.31,2.985),(2.1,2.985),(2.1,3.455),(1.47,3.455),(1.47,2.985),(1.26,2.985),(1.26,3.455),(0.63,3.455),(0.63,2.985),(0.42,2.985),(0.42,3.455),(-0.3,3.455),(-0.3,1.885),(0,1.885),(0,2.355),(0.21,2.355),(0.21,1.885),(0.84,1.885),(0.84,2.355),(1.05,2.355),(1.05,1.885),(1.68,1.885),(1.68,2.355),(1.89,2.355),(1.89,1.885),(2.52,1.885),(2.52,2.355),(2.73,2.355),(2.73,1.885),(3.36,1.885),(3.36,2.355),(3.57,2.355),(3.57,1.885),(4.2,1.885),(4.2,2.355),(4.41,2.355),(4.41,1.885),(5.09,1.885),(5.09,1.675),(4.83,1.675),(4.83,1.205),(4.62,1.205),(4.62,1.675),(3.99,1.675),(3.99,1.205),(3.78,1.205),(3.78,1.675),(3.15,1.675),(3.15,1.205),(2.94,1.205),(2.94,1.675),(2.31,1.675),(2.31,1.205),(2.1,1.205),(2.1,1.675),(1.47,1.675),(1.47,1.205),(1.26,1.205),(1.26,1.675),(0.63,1.675),(0.63,1.205),(0.42,1.205),(0.42,1.675),(-0.3,1.675),(-0.3,0.105),(0,0.105),(0,0.575),(0.21,0.575),(0.21,0.105),(0.84,0.105),(0.84,0.575),(1.05,0.575),(1.05,0.105),(1.68,0.105),(1.68,0.575),(1.89,0.575),(1.89,0.105),(2.52,0.105),(2.52,0.575),(2.73,0.575),(2.73,0.105),(3.36,0.105),(3.36,0.575),(3.57,0.575),(3.57,0.105),(4.2,0.105),(4.2,0.575),(4.41,0.575),(4.41,0.105),(5.09,0.105),(5.09,-0.105),(-0.3,-0.105),(-0.3,-0.32)],
  [(5.34,-0.32),(5.34,0.785),(4.83,0.785),(4.83,0.315),(4.62,0.315),(4.62,0.785),(3.99,0.785),(3.99,0.315),(3.78,0.315),(3.78,0.785),(3.15,0.785),(3.15,0.315),(2.94,0.315),(2.94,0.785),(2.31,0.785),(2.31,0.315),(2.1,0.315),(2.1,0.785),(1.47,0.785),(1.47,0.315),(1.26,0.315),(1.26,0.785),(0.63,0.785),(0.63,0.315),(0.42,0.315),(0.42,0.785),(-0.05,0.785),(-0.05,0.995),(0,0.995),(0,1.465),(0.21,1.465),(0.21,0.995),(0.84,0.995),(0.84,1.465),(1.05,1.465),(1.05,0.995),(1.68,0.995),(1.68,1.465),(1.89,1.465),(1.89,0.995),(2.52,0.995),(2.52,1.465),(2.73,1.465),(2.73,0.995),(3.36,0.995),(3.36,1.465),(3.57,1.465),(3.57,0.995),(4.2,0.995),(4.2,1.465),(4.41,1.465),(4.41,0.995),(5.34,0.995),(5.34,2.565),(4.83,2.565),(4.83,2.095),(4.62,2.095),(4.62,2.565),(3.99,2.565),(3.99,2.095),(3.78,2.095),(3.78,2.565),(3.15,2.565),(3.15,2.095),(2.94,2.095),(2.94,2.565),(2.31,2.565),(2.31,2.095),(2.1,2.095),(2.1,2.565),(1.47,2.565),(1.47,2.095),(1.26,2.095),(1.26,2.565),(0.63,2.565),(0.63,2.095),(0.42,2.095),(0.42,2.565),(-0.05,2.565),(-0.05,2.775),(0,2.775),(0,3.245),(0.21,3.245),(0.21,2.775),(0.84,2.775),(0.84,3.245),(1.05,3.245),(1.05,2.775),(1.68,2.775),(1.68,3.245),(1.89,3.245),(1.89,2.775),(2.52,2.775),(2.52,3.245),(2.73,3.245),(2.73,2.775),(3.36,2.775),(3.36,3.245),(3.57,3.245),(3.57,2.775),(4.2,2.775),(4.2,3.245),(4.41,3.245),(4.41,2.775),(5.34,2.775),(5.34,4.345),(4.83,4.345),(4.83,3.875),(4.62,3.875),(4.62,4.345),(3.99,4.345),(3.99,3.875),(3.78,3.875),(3.78,4.345),(3.15,4.345),(3.15,3.875),(2.94,3.875),(2.94,4.345),(2.31,4.345),(2.31,3.875),(2.1,3.875),(2.1,4.345),(1.47,4.345),(1.47,3.875),(1.26,3.875),(1.26,4.345),(0.63,4.345),(0.63,3.875),(0.42,3.875),(0.42,4.345),(-0.05,4.345),(-0.05,4.555),(0,4.555),(0,5.025),(0.21,5.025),(0.21,4.555),(0.84,4.555),(0.84,5.025),(1.05,5.025),(1.05,4.555),(1.68,4.555),(1.68,5.025),(1.89,5.025),(1.89,4.555),(2.52,4.555),(2.52,5.025),(2.73,5.025),(2.73,4.555),(3.36,4.555),(3.36,5.025),(3.57,5.025),(3.57,4.555),(4.2,4.555),(4.2,5.025),(4.41,5.025),(4.41,4.555),(5.34,4.555),(5.34,6.125),(4.83,6.125),(4.83,5.655),(4.62,5.655),(4.62,6.125),(3.99,6.125),(3.99,5.655),(3.78,5.655),(3.78,6.125),(3.15,6.125),(3.15,5.655),(2.94,5.655),(2.94,6.125),(2.31,6.125),(2.31,5.655),(2.1,5.655),(2.1,6.125),(1.47,6.125),(1.47,5.655),(1.26,5.655),(1.26,6.125),(0.63,6.125),(0.63,5.655),(0.42,5.655),(0.42,6.125),(-0.05,6.125),(-0.05,6.335),(5.34,6.335),(5.34,6.55),(5.94,6.55),(5.94,-0.32)])
R(g2n5_l5p5_w7_fixvia, L201_0, [(2.73,3.005,2.94,3.225)])

lib.write_gds('g2n5_l5p5_w7_fixvia.gds')
